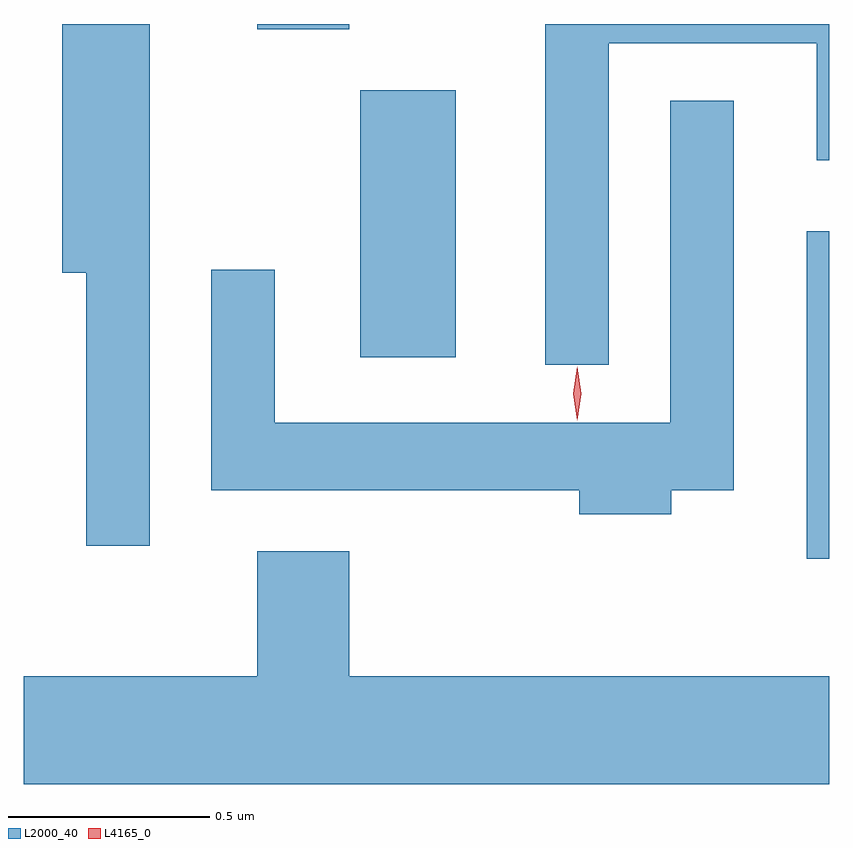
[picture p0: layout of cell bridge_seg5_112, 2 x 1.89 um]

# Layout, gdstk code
import gdstk
lib = gdstk.Library(unit=1e-6, precision=1e-09)
def R(c, l, rs):  # rectangles x0, y0, x1, y1
    for r in rs: c.add(gdstk.rectangle(r[:2], r[2:], *l))
def P(c, l, *ps):  # polygons
    for p in ps: c.add(gdstk.Polygon(p, *l))
L2000_40 = (2000, 40)
L4165_0 = (4165, 0)

bridge_seg5_112 = lib.new_cell('bridge_seg5_112')
R(bridge_seg5_112, L2000_40, [(1165.826,1508.416,1165.881,1509.229), (1164.716,1508.916,1164.954,1509.579), (1164.461,1509.731,1164.689,1509.744)])
P(bridge_seg5_112, L2000_40, [(1165.334,1509.696),(1165.851,1509.696),(1165.851,1509.406),(1165.881,1509.406),(1165.881,1509.744),(1165.176,1509.744),(1165.176,1508.898),(1165.334,1508.898)],
  [(1164.194,1509.744),(1163.976,1509.744),(1163.976,1509.126),(1164.036,1509.126),(1164.036,1508.448),(1164.194,1508.448)],
  [(1165.489,1508.586),(1165.644,1508.586),(1165.644,1509.553),(1165.486,1509.553),(1165.486,1508.754),(1164.504,1508.754),(1164.504,1509.133),(1164.346,1509.133),(1164.346,1508.586),(1165.261,1508.586),(1165.261,1508.526),(1165.489,1508.526)],
  [(1165.881,1508.124),(1164.689,1508.124),(1164.689,1508.434),(1164.461,1508.434),(1164.461,1508.124),(1163.881,1508.124),(1163.881,1507.856),(1165.881,1507.856)])
P(bridge_seg5_112, L4165_0, [(1165.255,1508.76),(1165.245,1508.826),(1165.255,1508.892),(1165.255,1508.893),(1165.256,1508.892),(1165.265,1508.826),(1165.256,1508.76),(1165.256,1508.76)])

lib.write_gds('bridge_seg5_112.gds')
